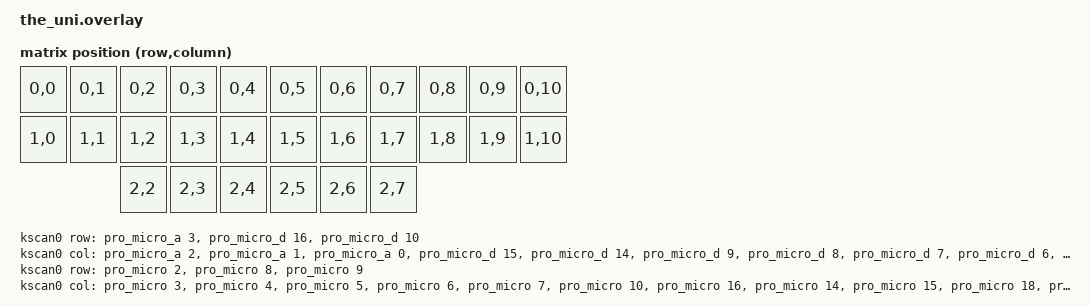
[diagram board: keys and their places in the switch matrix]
#include <dt-bindings/zmk/matrix_transform.h>

/ {
    chosen {
        zmk,kscan = &kscan0;
        zmk,matrix_transform = &default_transform;
    };

    default_transform: keymap_transform_0 {
        compatible = "zmk,matrix-transform";
        columns = <11>;
        rows = <3>;

// | MX1  | MX2  | MX3  | MX4  | MX5             | MX6  | MX7  | MX8  | MX9  | MX10 | MX11 |
// | MX12 | MX13 | MX14 | MX15 | MX16            | MX17 | MX18 | MX19 | MX20 | MX21 | MX22 |
// |               MX23 | MX24 | MX25            | MX26 | MX27 | MX28                      |

        map = <
RC(0,0) RC(0,1) RC(0,2) RC(0,3) RC(0,4)        RC(0,5) RC(0,6) RC(0,7) RC(0,8) RC(0,9) RC(0,10)
RC(1,0) RC(1,1) RC(1,2) RC(1,3) RC(1,4)        RC(1,5) RC(1,6) RC(1,7) RC(1,8) RC(1,9) RC(1,10)
                RC(2,2) RC(2,3) RC(2,4)        RC(2,5) RC(2,6) RC(2,7)
        >;
    };

    kscan0: kscan_0 {
        compatible = "zmk,kscan-gpio-matrix";
        label = "KSCAN";
        diode-direction = "col2row";

        col-gpios
            = <&pro_micro 3 GPIO_ACTIVE_HIGH>
            , <&pro_micro 4 GPIO_ACTIVE_HIGH>
            , <&pro_micro 5 GPIO_ACTIVE_HIGH>
            , <&pro_micro 6 GPIO_ACTIVE_HIGH>
            , <&pro_micro 7 GPIO_ACTIVE_HIGH>
            , <&pro_micro 10 GPIO_ACTIVE_HIGH>
            , <&pro_micro 16 GPIO_ACTIVE_HIGH>
            , <&pro_micro 14 GPIO_ACTIVE_HIGH>
            , <&pro_micro 15 GPIO_ACTIVE_HIGH>
            , <&pro_micro 18 GPIO_ACTIVE_HIGH>
            , <&pro_micro 19 GPIO_ACTIVE_HIGH>
            ;

        row-gpios
            = <&pro_micro 2 (GPIO_ACTIVE_HIGH | GPIO_PULL_DOWN)>
            , <&pro_micro 8 (GPIO_ACTIVE_HIGH | GPIO_PULL_DOWN)>
            , <&pro_micro 9 (GPIO_ACTIVE_HIGH | GPIO_PULL_DOWN)>
            ;

    };
};

    kscan0: kscan_0 {
        compatible = "zmk,kscan-gpio-matrix";
        label = "KSCAN";
        diode-direction = "col2row";

        col-gpios
            = <&pro_micro_a 2 GPIO_ACTIVE_HIGH>
            , <&pro_micro_a 1 GPIO_ACTIVE_HIGH>
            , <&pro_micro_a 0 GPIO_ACTIVE_HIGH>
            , <&pro_micro_d 15 GPIO_ACTIVE_HIGH>
            , <&pro_micro_d 14 GPIO_ACTIVE_HIGH>
            , <&pro_micro_d 9 GPIO_ACTIVE_HIGH>
            , <&pro_micro_d 8 GPIO_ACTIVE_HIGH>
            , <&pro_micro_d 7 GPIO_ACTIVE_HIGH>
            , <&pro_micro_d 6 GPIO_ACTIVE_HIGH>
            , <&pro_micro_d 5 GPIO_ACTIVE_HIGH>
            , <&pro_micro_d 4 GPIO_ACTIVE_HIGH>
            ;

        row-gpios
            = <&pro_micro_a 3 (GPIO_ACTIVE_HIGH | GPIO_PULL_DOWN)>
            , <&pro_micro_d 16 (GPIO_ACTIVE_HIGH | GPIO_PULL_DOWN)>
            , <&pro_micro_d 10 (GPIO_ACTIVE_HIGH | GPIO_PULL_DOWN)>
            ;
